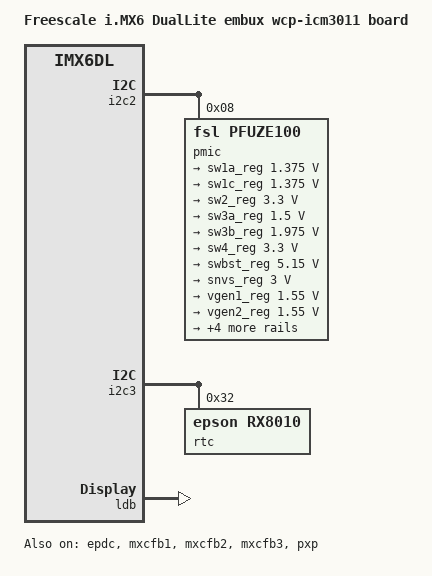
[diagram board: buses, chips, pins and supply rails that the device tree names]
/*
 * Copyright (C) 2013-2014 Freescale Semiconductor, Inc.
 *
 * This program is free software; you can redistribute it and/or modify
 * it under the terms of the GNU General Public License version 2 as
 * published by the Free Software Foundation.
 */

/dts-v1/;

#include "imx6dl-embux.dtsi"
#include "imx6dl-embux-base-ldb.dtsi"
#include "imx6dl-embux-base-ldb24.dtsi"
#include "imx6dl-embux-icm3011.dtsi"

/ {
	model = "Freescale i.MX6 DualLite embux wcp-icm3011 board";
	compatible = "fsl,imx6dl-sabresd", "fsl,imx6dl";
};

&i2c2 {
	pmic: pfuze100@08 {
		compatible = "fsl,pfuze100";
		reg = <0x08>;

		regulators {
			sw1a_reg: sw1ab {
				regulator-min-microvolt = <1375000>;
				regulator-max-microvolt = <1375000>;
				regulator-boot-on;
				regulator-always-on;
				regulator-ramp-delay = <6250>;
			};

			sw1c_reg: sw1c {
				regulator-min-microvolt = <1375000>;
				regulator-max-microvolt = <1375000>;
				regulator-boot-on;
				regulator-always-on;
				regulator-ramp-delay = <6250>;
			};

			sw2_reg: sw2 {
				regulator-min-microvolt = <3300000>;
				regulator-max-microvolt = <3300000>;
				regulator-boot-on;
				regulator-always-on;
				regulator-ramp-delay = <6250>;
			};

			sw3a_reg: sw3a {
				regulator-min-microvolt = <1500000>;
				regulator-max-microvolt = <1500000>;
				regulator-boot-on;
				regulator-always-on;
				regulator-ramp-delay = <6250>;
			};

			sw3b_reg: sw3b {
				regulator-min-microvolt = <1975000>;
				regulator-max-microvolt = <1975000>;
				regulator-boot-on;
				regulator-always-on;
				regulator-ramp-delay = <6250>;
			};

			sw4_reg: sw4 {
				regulator-min-microvolt = <3300000>;
				regulator-max-microvolt = <3300000>;
				regulator-ramp-delay = <6250>;
			};

			swbst_reg: swbst {
				regulator-min-microvolt = <5150000>;
				regulator-max-microvolt = <5150000>;
			};

			snvs_reg: vsnvs {
				regulator-min-microvolt = <3000000>;
				regulator-max-microvolt = <3000000>;
				regulator-boot-on;
				regulator-always-on;
			};

			vref_reg: vrefddr {
				regulator-boot-on;
				regulator-always-on;
			};

			vgen1_reg: vgen1 {
				regulator-min-microvolt = <1550000>;
				regulator-max-microvolt = <1550000>;
			};

			vgen2_reg: vgen2 {
				regulator-min-microvolt = <1550000>;
				regulator-max-microvolt = <1550000>;
			};

			vgen3_reg: vgen3 {
				regulator-min-microvolt = <3300000>;
				regulator-max-microvolt = <3300000>;
			};

			vgen4_reg: vgen4 {
				regulator-min-microvolt = <1800000>;
				regulator-max-microvolt = <1800000>;
				regulator-always-on;
			};

			vgen5_reg: vgen5 {
				regulator-min-microvolt = <3300000>;
				regulator-max-microvolt = <3300000>;
				regulator-always-on;
			};

			vgen6_reg: vgen6 {
				regulator-min-microvolt = <3300000>;
				regulator-max-microvolt = <3300000>;
				regulator-always-on;
			};
		};
	};
};

&i2c3 {
	rtc: rx8010@32 {
		compatible = "epson,rx8010";
		reg = <0x32>;
		status = "okay";
		//interrupt-parent = <&gpio2>, <&gpio4>;
		//interrupts = <17>, <19>;
		//rx8010-irq_1 = <&gpio2 17 0>;	
		//rx8010-irq_2 = <&gpio4 19 0>;		
	};
};

&battery {
	offset-charger = <1485>;
	offset-discharger = <1464>;
	offset-usb-charger = <1285>;
};



&epdc {
	pinctrl-names = "default";
	pinctrl-0 = <&pinctrl_epdc_ebx_ea2>, <&pinctrl_gpio1_ebx_icm3011>, <&pinctrl_gpio2_ebx_icm2011>, <&pinctrl_gpio3_ebx_icm3011>,
				<&pinctrl_gpio4_ebx_wcp2410>, <&pinctrl_gpio5_ebx_wcp2410>, <&pinctrl_gpio6_ebx_icm3011>, <&pinctrl_gpio7_ebx_wcp2410>;
	V3P3-supply = <&vgen6_reg>; 
	//VCOM-supply = <&VCOM_reg>;
	//DISPLAY-supply = <&DISPLAY_reg>;
	status = "okay";
};


&ldb {
	status = "okay";
	lvds-channel@0 {
		crtc = "ipu1-di1";
	};

	lvds-channel@1 {
		crtc = "ipu1-di0";
	};
};


&mxcfb1 {
	status = "okay";
};

&mxcfb2 {
	status = "okay";
};

&mxcfb3 {
	status = "okay";
};

&pxp {
	status = "okay";
};
